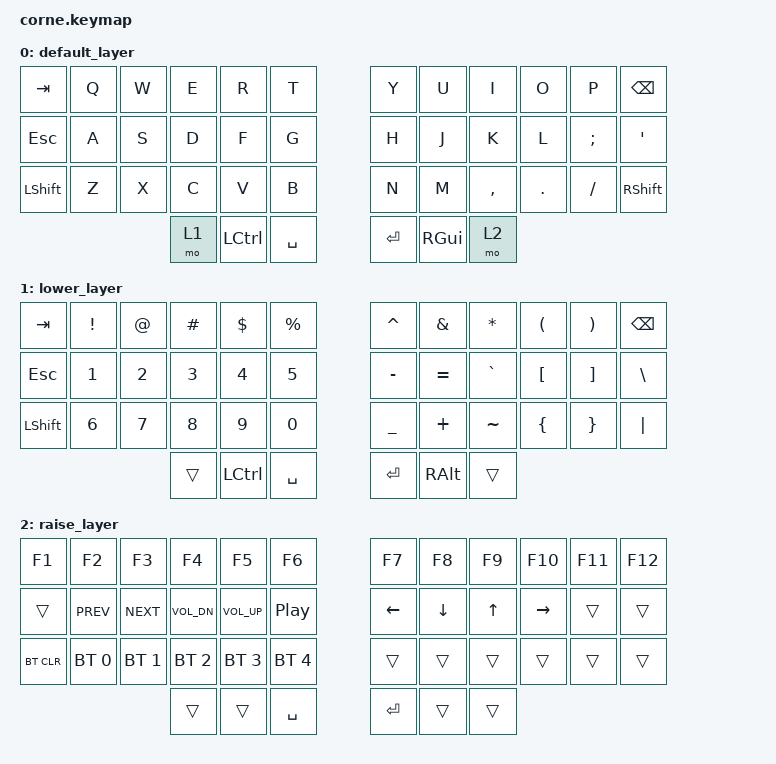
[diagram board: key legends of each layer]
/*
 * Copyright (c) 2020 The ZMK Contributors
 *
 * SPDX-License-Identifier: MIT
 */

#include <behaviors.dtsi>
#include <dt-bindings/zmk/keys.h>
#include <dt-bindings/zmk/bt.h>

/ {
        keymap {
                compatible = "zmk,keymap";

                default_layer {
// -----------------------------------------------------------------------------------------
// |  TAB |  Q  |  W  |  E  |  R  |  T  |   |  Y  |  U   |  I  |  O  |  P  | BKSP |
// |  ESC |  A  |  S  |  D  |  F  |  G  |   |  H  |  J   |  K  |  L  |  ;  |  '   |
// | SHFT |  Z  |  X  |  C  |  V  |  B  |   |  N  |  M   |  ,  |  .  |  /  | SHFT |
//                    | LWR |LCTRL| SPC |   | ENT | GUI  | RSE |
                        bindings = <
   &kp TAB   &kp Q &kp W &kp E &kp R &kp T   &kp Y &kp U  &kp I     &kp O   &kp P    &kp BSPC
   &kp ESC &kp A &kp S &kp D &kp F &kp G   &kp H &kp J  &kp K     &kp L   &kp SEMI &kp SQT
   &kp LSHFT &kp Z &kp X &kp C &kp V &kp B   &kp N &kp M  &kp COMMA &kp DOT &kp FSLH &kp RSHFT
                  &mo 1 &kp LCTRL &kp SPACE   &kp ENTER &kp RGUI &mo 2
                        >;
                };

                lower_layer {
// -----------------------------------------------------------------------------------------
// |  TAB |  !  |  @  |  #  |  $  |  %  |   |  ^  |  &  |  *  |  (  |  )  | BKSP |
// |  ESC |  1  |  2  |  3  |  4  |  5  |   |  -  |  =  |  `  |  [  |  ]  |   \  |
// | SHFT |  6  |  7  |  8  |  9  |  0  |   |  _  |  +  |  ~  |  {  |  }  |  "|" |
//                    |     |LCTRL| SPC |   | ENT | ALT |     |
                        bindings = <
   &kp TAB &kp EXCL &kp AT &kp HASH &kp DLLR &kp PRCNT  &kp CARET &kp AMPS &kp ASTRK &kp LPAR &kp RPAR &kp BSPC
   &kp ESC &kp N1 &kp N2 &kp N3 &kp N4 &kp N5   &kp MINUS &kp EQUAL &kp GRAVE &kp LBKT &kp RBKT &kp BSLH
   &kp LSHFT &kp N6 &kp N7 &kp N8 &kp N9 &kp N0   &kp UNDER &kp PLUS &kp TILDE &kp LBRC &kp RBRC &kp PIPE
                  &trans &kp LCTRL &kp SPACE   &kp ENTER &kp RALT &trans
                        >;
                };

                raise_layer {
// -----------------------------------------------------------------------------------------
// |  F1  |  F2 |  F3 |  F4 |  F5 |  F6 |   |  F7 |  F8 |  F9 | F10 | F11 |  F12 |
// |      | PREV| NEXT| Vol-| Vol+|PlyPS|   | LEFT| DOWN|  UP |RIGHT|     |      |
// | BTCLR| BT1 | BT2 | BT3 | BT4 | BT5 |   |     |     |     |     |     |      |
//                    |     |     | SPC |   | ENT |     |     |
                        bindings = <
   &kp F1 &kp F2 &kp F3 &kp F4 &kp F5 &kp F6  &kp F7 &kp F8 &kp F9 &kp F10 &kp F11 &kp F12
   &trans &kp C_PREV &kp C_NEXT &kp C_VOL_DN &kp C_VOL_UP &kp C_PP   &kp LEFT &kp DOWN &kp UP &kp RIGHT &trans &trans
   &bt BT_CLR &bt BT_SEL 0 &bt BT_SEL 1 &bt BT_SEL 2 &bt BT_SEL 3 &bt BT_SEL 4   &trans &trans &trans &trans &trans &trans
                  &trans &trans &kp SPACE   &kp ENTER &trans &trans
                        >;
                };
        };
};
